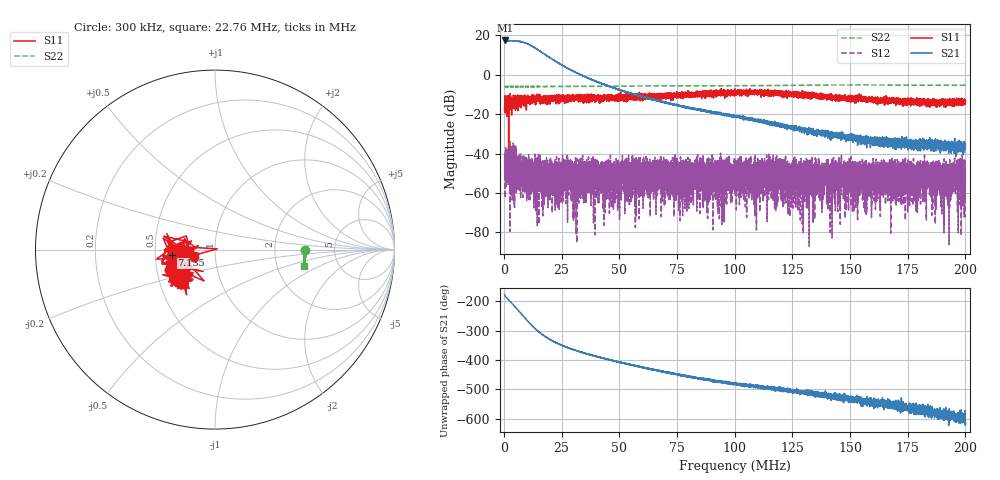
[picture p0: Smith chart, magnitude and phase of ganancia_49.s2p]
# Hz S DB R 50
! CMT, M5065, 19127446, 24.2.4/2
! Date: 11/8/2024 3:18:26 PM
! Data: Format (Calibration Info)
! Freq	S11:dB/Ang(F2)	S21:dB/Ang(F2)	S12:dB/Ang(F2)	S22:dB/Ang(F2)
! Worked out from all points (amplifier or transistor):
!   9000 points, 300 kHz to 200 MHz, reference 50 ohm
!   highest |S21| = 17.4 dB at 388.8 kHz (marker M1)
!   |S21| within 3 dB of that: start of sweep to 12.3 MHz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
!   unconditionally stable (mu >= 1): start of sweep to end of sweep
!   at 33.59 MHz: K = 61.89, MAG = 1.5 dB, |S12| = -44.9 dB
!   at 100.2 MHz: K = 1317.20, MAG = -19.2 dB, |S12| = -51.3 dB
!   at 200 MHz: K = 9775.93, MAG = -33.5 dB, |S12| = -54.0 dB
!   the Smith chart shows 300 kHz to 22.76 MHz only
!   S11 on the Smith chart (normalised r, x): 300 kHz: 0.78, -0.07; 7.135 MHz: 0.61, -0.04; 22.76 MHz: 0.63, -0.27
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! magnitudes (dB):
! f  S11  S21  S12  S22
! 300 kHz  -17.9  17.4  -43.1  -6.0
! 388.8 kHz  -16.8  17.4  -42.9  -6.0
! 7.135 MHz  -12.3  16.8  -53.5  -6.0
! 22.76 MHz  -11.2  6.6  -57.8  -5.9
! 33.59 MHz  -11.4  -0.2  -44.9  -5.9
! 57.78 MHz  -12.1  -10.4  -47.4  -5.7
! 66.87 MHz  -10.7  -13.3  -46.5  -5.7
! 76.75 MHz  -9.5  -15.8  -52.7  -5.6
! 79.77 MHz  -9.4  -16.5  -45.6  -5.6
! 87.31 MHz  -9.4  -17.8  -53.5  -5.6
! 96.99 MHz  -7.5  -20.4  -42.0  -5.6
! 100.2 MHz  -8.4  -21.3  -51.3  -5.6
! 105 MHz  -9.9  -21.7  -45.6  -5.5
! 117.7 MHz  -9.6  -25.1  -67.1  -5.5
! 119.9 MHz  -9.6  -24.5  -47.7  -5.4
! 123.1 MHz  -8.8  -26.6  -50.4  -5.4
! 126 MHz  -10.5  -26.2  -49.7  -5.4
! 133.4 MHz  -9.5  -28.0  -49.3  -5.3
! 166.7 MHz  -12.7  -33.5  -55.7  -5.2
! 192.9 MHz  -13.8  -35.7  -62.2  -5.3
! 195.1 MHz  -16.2  -38.2  -53.1  -5.4
! 200 MHz  -13.1  -35.2  -54.0  -5.4
